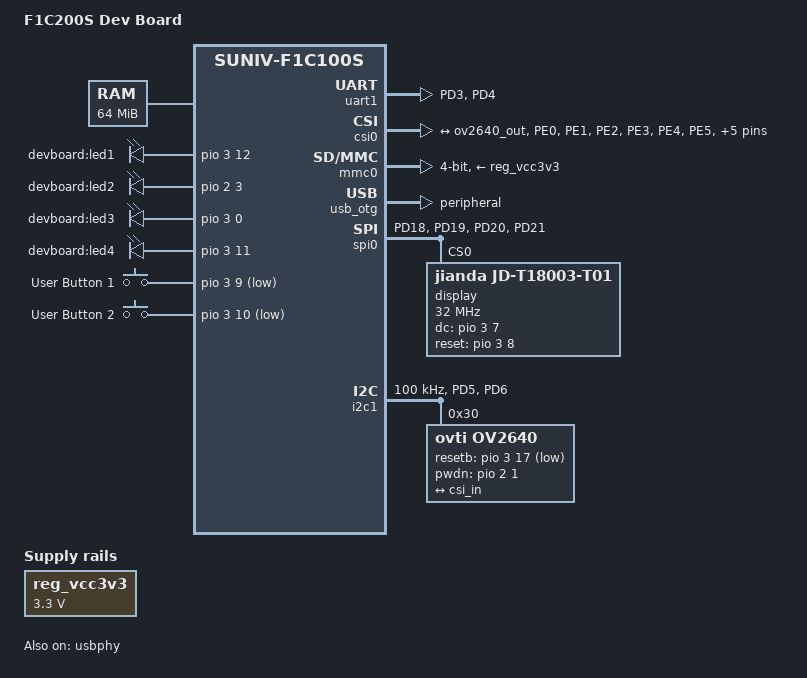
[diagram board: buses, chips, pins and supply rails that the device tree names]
// SPDX-License-Identifier: (GPL-2.0+ OR MIT)
// Device tree for F1C200S Dev Board Rev A
// Linux kernel version (include path relative to arch/arm/boot/dts/)

/dts-v1/;
#include "allwinner/suniv-f1c100s.dtsi"
#include <dt-bindings/clock/suniv-ccu-f1c100s.h>
#include <dt-bindings/reset/suniv-ccu-f1c100s.h>
#include <dt-bindings/gpio/gpio.h>
#include <dt-bindings/input/input.h>

/ {
	model = "F1C200S Dev Board";
	compatible = "custom,f1c200s-devboard",
		     "allwinner,suniv-f1c200s",
		     "allwinner,suniv-f1c100s";

	aliases {
		mmc0 = &mmc0;
		serial0 = &uart0;
		serial1 = &uart1;
	};

	chosen {
		stdout-path = "serial0:115200n8";
	};

	memory@80000000 {
		device_type = "memory";
		reg = <0x80000000 0x04000000>; /* 64 MB */
	};

	reg_vcc3v3: reg-vcc3v3 {
		compatible = "regulator-fixed";
		regulator-name = "vcc3v3";
		regulator-min-microvolt = <3300000>;
		regulator-max-microvolt = <3300000>;
	};

	leds {
		compatible = "gpio-leds";

		led1 {
			label = "devboard:led1";
			gpios = <&pio 3 12 GPIO_ACTIVE_HIGH>; /* PD12 */
			linux,default-trigger = "heartbeat";
		};

		led2 {
			label = "devboard:led2";
			gpios = <&pio 2 3 GPIO_ACTIVE_HIGH>; /* PC3 */
		};

		led3 {
			label = "devboard:led3";
			gpios = <&pio 3 0 GPIO_ACTIVE_HIGH>; /* PD0 */
		};

		led4 {
			label = "devboard:led4";
			gpios = <&pio 3 11 GPIO_ACTIVE_HIGH>; /* PD11 */
			linux,default-trigger = "mmc0";
		};
	};

	gpio-keys {
		compatible = "gpio-keys";
		pinctrl-names = "default";
		pinctrl-0 = <&button1_pd9_pin>, <&button2_pd10_pin>;

		button-1 {
			label = "User Button 1";
			linux,code = <KEY_ENTER>;
			gpios = <&pio 3 9 GPIO_ACTIVE_LOW>; /* PD9 */
		};

		button-2 {
			label = "User Button 2";
			linux,code = <KEY_ESC>;
			gpios = <&pio 3 10 GPIO_ACTIVE_LOW>; /* PD10 */
		};
	};

	/*
	 * TVOUT - Composite video output on TVOUT pin (pin 72)
	 * The display pipeline nodes (fe0, be0, tcon0) are not yet in
	 * mainline suniv-f1c100s.dtsi. Once upstreamed, enable with:
	 *   &fe0   { status = "okay"; };
	 *   &be0   { status = "okay"; };
	 *   &tcon0 { status = "okay"; };
	 *
	 * TVIN - Composite video input on TVIN0/TVIN1 pins (pins 78/77)
	 * Requires V4L2 driver for suniv TV decoder (not in mainline).
	 */

	/* Dummy 24 MHz clock handed to the OV2640 driver as "xvclk".
	 * The camera module has its own onboard crystal; the driver
	 * just needs a clk phandle it can call clk_prepare_enable() on.
	 * fixed-clock makes that a no-op.
	 */
	ov2640_xvclk: ov2640-xvclk {
		compatible = "fixed-clock";
		#clock-cells = <0>;
		clock-frequency = <24000000>;
	};
};

/* Nodes not in mainline suniv dtsi yet - define inline */
&{/soc} {
	uart1: serial@1c25400 {
		compatible = "snps,dw-apb-uart";
		reg = <0x01c25400 0x400>;
		interrupts = <2>;
		reg-shift = <2>;
		reg-io-width = <4>;
		clocks = <&ccu CLK_BUS_UART1>;
		resets = <&ccu RST_BUS_UART1>;
		pinctrl-names = "default";
		pinctrl-0 = <&uart1_pd_pins>;
		status = "okay";
	};

	/* CSI (parallel camera interface).
	 *
	 * Requires the sun4i-csi suniv compatible patch under linux-patches/.
	 *
	 * Pin conflict with UART0 console: PE0/PE1 carry CSI HSYNC/VSYNC
	 * but are also the UART0 TX/RX console pins. When you enable CSI
	 * (status = "okay" below), either:
	 *   a) set status = "disabled" on &uart0, and switch the console
	 *      to /dev/ttyGS0 (USB gadget, already set up in rcS), OR
	 *   b) accept that the serial console goes silent while camera runs.
	 *
	 * IRQ 24 is best-guess for CSI on suniv; verify against the F1C100S
	 * datasheet interrupt table before trusting it in production.
	 */
	csi0: csi@1cb0000 {
		compatible = "allwinner,suniv-f1c100s-csi";
		reg = <0x01cb0000 0x1000>;
		interrupts = <32>;
		clocks = <&ccu CLK_BUS_CSI>, <&ccu CLK_DRAM_CSI>;
		clock-names = "bus", "ram";
		resets = <&ccu RST_BUS_CSI>;
		pinctrl-names = "default";
		pinctrl-0 = <&csi_pe_pins>;
		status = "okay";

		port {
			csi_in: endpoint {
				remote-endpoint = <&ov2640_out>;
				bus-width = <8>;
				hsync-active = <1>;
				vsync-active = <1>;
				pclk-sample = <1>;
			};
		};
	};
};

&pio {
	vcc-pc-supply = <&reg_vcc3v3>;
	vcc-pd-supply = <&reg_vcc3v3>;
	vcc-pe-supply = <&reg_vcc3v3>;
	vcc-pf-supply = <&reg_vcc3v3>;

	uart1_pd_pins: uart1-pd-pins {
		pins = "PD3", "PD4";
		function = "uart1";
	};

	spi0_pd_pins: spi0-pd-pins {
		pins = "PD18", "PD19", "PD20", "PD21";
		function = "spi0";
	};

	ir_rx_pins: ir-rx-pins {
		pins = "PE11";
		function = "ir";
	};

	button1_pd9_pin: button1-pd9-pin {
		pins = "PD9";
		function = "gpio_in";
		bias-pull-up;
	};

	button2_pd10_pin: button2-pd10-pin {
		pins = "PD10";
		function = "gpio_in";
		bias-pull-up;
	};

	/* CSI DVP: PE0=HSYNC, PE1=VSYNC, PE2=PCLK, PE3-PE10=D0-D7 */
	csi_pe_pins: csi-pe-pins {
		pins = "PE0", "PE1", "PE2", "PE3", "PE4",
		       "PE5", "PE6", "PE7", "PE8", "PE9", "PE10";
		function = "csi";
	};

	/* SCCB for OV2640 sensor (I2C1 on PD5/PD6 per board schematic) */
	i2c1_pd_pins: i2c1-pd-pins {
		pins = "PD5", "PD6";
		function = "i2c1";
	};
};

/* UART0 on PE0/PE1 — shares pins with CSI HSYNC/VSYNC.
 * When activating the camera stack, flip this to "disabled" and enable
 * &csi0 + &i2c1 — console moves to /dev/ttyGS0 over USB gadget.
 */
&uart0 {
	pinctrl-names = "default";
	pinctrl-0 = <&uart0_pe_pins>;
	status = "disabled";
};

/* SD card on SDC0 (PF0-PF5) - boot device */
&mmc0 {
	vmmc-supply = <&reg_vcc3v3>;
	bus-width = <4>;
	no-1-8-v;     /* SD card at 3.3V only; we don't support UHS-I signaling */
	broken-cd;    /* no card-detect pin wired */
	disable-wp;   /* no write-protect pin wired */
	status = "okay";
};

&otg_sram {
	status = "okay";
};

&usb_otg {
	dr_mode = "peripheral";
	status = "okay";
};

&usbphy {
	status = "okay";
};

/* SPI0 on PD18-PD21 (mux 4) - wired to display header */
&spi0 {
	pinctrl-names = "default";
	pinctrl-0 = <&spi0_pd_pins>;
	status = "okay";

	/* ST7735R TFT display
	 * SPI: CS=PD18, MOSI=PD19, CLK=PD20, MISO=PD21
	 * DC and reset on PD7/PD8 - adjust to match your wiring.
	 * If you see garbled pixels, try dropping spi-max-frequency to 16 MHz.
	 */
	display@0 {
		compatible = "jianda,jd-t18003-t01";
		reg = <0>;
		spi-max-frequency = <32000000>;
		dc-gpios = <&pio 3 7 GPIO_ACTIVE_HIGH>;    /* PD7 */
		/* This module has an inverter on RST (or clone wiring) — the chip's
		 * reset is physically active-high from the header's point of view.
		 * Using GPIO_ACTIVE_LOW leaves the display permanently reset (white).
		 */
		reset-gpios = <&pio 3 8 GPIO_ACTIVE_HIGH>;  /* PD8 */
		rotation = <0>;
		status = "okay";
	};
};

/* IR receiver on PE3 (directly accessible on header) */
/*
 * NOTE: The suniv IR controller node may not be in the mainline dtsi.
 * If missing, it can be defined similarly to uart1 above at address
 * 0x01c22c00. The IR_RX pin is routed to the board headers.
 */

/* I2C1 = SCCB bus for OV2640. Enabled alongside &csi0 for camera use. */
&i2c1 {
	pinctrl-names = "default";
	pinctrl-0 = <&i2c1_pd_pins>;
	clock-frequency = <100000>;
	status = "okay";

	ov2640: camera@30 {
		compatible = "ovti,ov2640";
		reg = <0x30>;
		clocks = <&ov2640_xvclk>;
		clock-names = "xvclk";
		/* Net mapping confirmed from schematic:
		 *   CAM_RESET → PD17  (SoC pin 25, active-low)
		 *   CAM_PWDN  → PC1   (active-high, still to be double-checked)
		 * Previous PC2 was actually the FEL net — wrong pin.
		 */
		resetb-gpios = <&pio 3 17 GPIO_ACTIVE_LOW>;
		pwdn-gpios = <&pio 2 1 GPIO_ACTIVE_HIGH>;

		port {
			ov2640_out: endpoint {
				remote-endpoint = <&csi_in>;
				bus-width = <8>;
				hsync-active = <1>;
				vsync-active = <1>;
				pclk-sample = <1>;
			};
		};
	};
};
